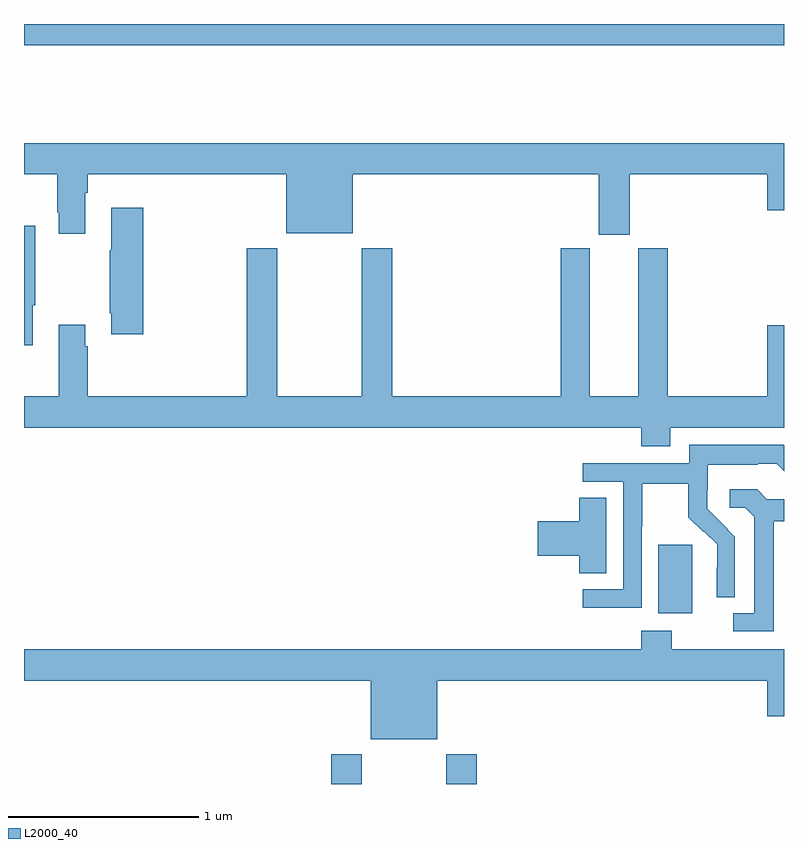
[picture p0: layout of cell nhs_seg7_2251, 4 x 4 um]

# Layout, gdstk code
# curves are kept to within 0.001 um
import gdstk
lib = gdstk.Library(unit=1e-6, precision=1e-09)
def R(c, l, rs):  # rectangles x0, y0, x1, y1
    for r in rs: c.add(gdstk.rectangle(r[:2], r[2:], *l))
def P(c, l, *ps):  # polygons
    for p in ps: c.add(gdstk.Polygon(p, *l))
L2000_40 = (2000, 40)

nhs_seg7_2251 = lib.new_cell('nhs_seg7_2251')
R(nhs_seg7_2251, L2000_40, [(258.617,1072,258.777,1072.156), (259.222,1072,259.382,1072.156), (260.339,1072.898,260.518,1073.259), (257,1075.888,261,1076)])
P(nhs_seg7_2251, L2000_40, [(260.188,1075.208),(260.912,1075.208),(260.912,1075.02),(261,1075.02),(261,1075.372),(257,1075.372),(257,1075.208),(257.176,1075.208),(257.176,1075.009),(257.183,1075.009),(257.183,1074.897),(257.323,1074.897),(257.323,1075.112),(257.336,1075.112),(257.336,1075.208),(258.38,1075.208),(258.38,1074.899),(258.73,1074.899),(258.73,1075.208),(260.024,1075.208),(260.024,1074.891),(260.188,1074.891)],
  [(257.627,1075.033),(257.459,1075.033),(257.459,1074.809),(257.452,1074.809),(257.452,1074.478),(257.459,1074.478),(257.459,1074.366),(257.627,1074.366)],
  [(257.047,1074.521),(257.059,1074.521),(257.059,1074.937),(257,1074.937),(257,1074.309),(257.047,1074.309)],
  [(260.401,1073.876),(261,1073.876),(261,1074.415),(260.912,1074.415),(260.912,1074.04),(260.387,1074.04),(260.387,1074.819),(260.234,1074.819),(260.234,1074.04),(259.978,1074.04),(259.978,1074.819),(259.826,1074.819),(259.826,1074.04),(258.938,1074.04),(258.938,1074.82),(258.778,1074.82),(258.778,1074.04),(258.333,1074.04),(258.333,1074.82),(258.173,1074.82),(258.173,1074.04),(257.336,1074.04),(257.336,1074.305),(257.323,1074.305),(257.323,1074.418),(257.183,1074.418),(257.183,1074.04),(257,1074.04),(257,1073.876),(260.249,1073.876),(260.249,1073.777),(260.401,1073.777)],
  [(260.25,1073.356),(260.253,1073.356),(260.253,1073.58),(260.497,1073.58),(260.497,1073.405),(260.574,1073.328),(260.577,1073.331),(260.648,1073.261),(260.648,1073.138),(260.646,1073.138),(260.646,1072.984),(260.742,1072.984),(260.742,1073.302),(260.596,1073.45),(260.596,1073.547),(260.598,1073.547),(260.598,1073.681),(260.861,1073.681),(260.861,1073.685),(260.961,1073.685),(261,1073.646),(261,1073.784),(260.502,1073.785),(260.502,1073.688),(259.941,1073.688),(259.941,1073.592),(260.154,1073.592),(260.154,1073.025),(259.941,1073.025),(259.941,1072.927),(260.25,1072.927)],
  [(260.947,1073.384),(261,1073.384),(261,1073.499),(260.91,1073.499),(260.858,1073.551),(260.715,1073.551),(260.715,1073.454),(260.796,1073.454),(260.843,1073.407),(260.843,1072.899),(260.733,1072.899),(260.733,1072.803),(260.947,1072.803)],
  [(260.065,1073.507),(259.922,1073.507),(259.922,1073.384),(259.704,1073.384),(259.704,1073.201),(259.922,1073.201),(259.922,1073.11),(260.065,1073.11)],
  [(260.409,1072.807),(260.249,1072.807),(260.249,1072.708),(257,1072.708),(257,1072.544),(258.824,1072.544),(258.824,1072.235),(259.174,1072.235),(259.174,1072.544),(260.912,1072.544),(260.912,1072.356),(261,1072.356),(261,1072.708),(260.409,1072.708)])

lib.write_gds('nhs_seg7_2251.gds')
